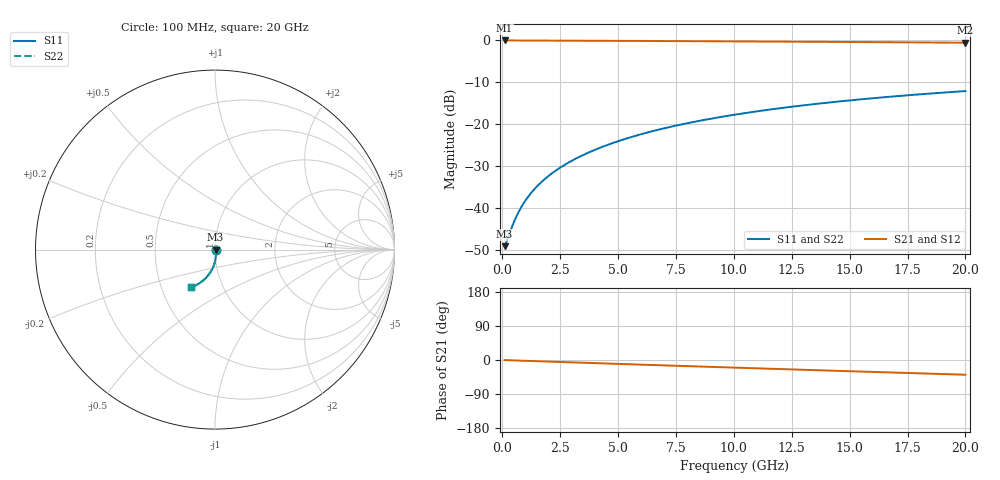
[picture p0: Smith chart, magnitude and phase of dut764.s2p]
! Touchstone file exported from HFSS 2026.1.0
!  File:  C:/ffzhzh/LocalFiles/Ansys_Project_Files/temp_train_TMRDL_764_1783155480_51560.aedt
!  Generated:  04:59:08 PM Jul  4, 2026
!  Design:  TMRDL
!  Project:  temp_train_TMRDL_764_1783155480_51560
! Variables:
!  h_bsmrdl = 2um
!  h_ox = 20um
!  h_rdl = 5um
!  h_sub = 80um
!  h_tmrdl = 5.48um
!  h_tsv = 80um
!  h_via = 3um
!  l_bsmrdl = 300um
!  l_sub = 1049.01um
!  l_tmrdl = 649.01um
!  m_sub = 200um
!  pitch = 14.46um
!  r_tsv = 6um
!  s_tmrdl = 10um
!  w_bsmrdl = 18um
!  w_sub = 500um
!  w_tmrdl = 12.65um
!  x_tsv_center1 = 655.335um
!  x_tsv_center2 = 973.335um
!  x_tsv_center3 = 1634.995um
!  x_tsv_center4 = 1952.995um
!  x_tsv_center5 = 2614.655um
!  x_tsv_center6 = 2932.655um
# GHz S MA R 50.000000
! Terminal data exported
! Port[1] = TM_RDL1_1_T1
! Port[2] = TM_RDL1_1_T2
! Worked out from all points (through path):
!   200 points, 100 MHz to 20 GHz, reference 50 ohm
!   highest |S21| = -0.03 dB at 100 MHz (marker M1); lowest = -0.6 dB at 20 GHz (marker M2)
!   group delay of S21, straight-line fit = 5.38 ps
!   lowest |S11| = -49.0 dB at 100 MHz (marker M3), VSWR 1.01, Z = 50.4 - j0.0531 ohm
!   |S11| at or under -10 dB: start of sweep to end of sweep
!   |S22| runs from -49.0 to -12.1 dB; largest |S21 - S12| = 5.4e-15
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0.1  0.003544 -8.6  0.9965 -0.2  0.9965 -0.2  0.003544 -8.6
! Gamma 0 0 0 0
! Port Impedance 50 0 50 0
0.2  0.004111 -18.0  0.9961 -0.5  0.9961 -0.5  0.004111 -18.0
0.4  0.005837 -35.7  0.9952 -0.9  0.9952 -0.9  0.005837 -35.7
0.5  0.006847 -42.7  0.9949 -1.1  0.9949 -1.1  0.006846 -42.7
0.7  0.009001 -53.2  0.9944 -1.5  0.9944 -1.5  0.009 -53.2
0.8  0.01012 -57.1  0.9942 -1.7  0.9942 -1.7  0.01012 -57.1
1  0.0124 -63.0  0.9939 -2.2  0.9939 -2.2  0.0124 -63.0
1.3  0.01591 -68.9  0.9935 -2.8  0.9935 -2.8  0.01591 -69.0
1.7  0.02069 -74.0  0.9929 -3.6  0.9929 -3.6  0.02069 -74.0
2.2  0.02679 -78.1  0.992 -4.6  0.992 -4.6  0.02679 -78.1
2.8  0.03428 -81.5  0.9909 -5.9  0.9909 -5.9  0.03428 -81.5
3.5  0.04322 -84.3  0.9894 -7.3  0.9894 -7.3  0.04322 -84.4
4.2  0.05235 -86.7  0.9877 -8.7  0.9877 -8.7  0.05234 -86.7
5  0.06294 -89.1  0.9857 -10.3  0.9857 -10.3  0.06293 -89.1
5.9  0.075 -91.6  0.9834 -12.1  0.9834 -12.1  0.07498 -91.6
6.8  0.08711 -93.9  0.981 -13.9  0.981 -13.9  0.08709 -93.9
8.3  0.1073 -97.6  0.9768 -16.8  0.9768 -16.8  0.1072 -97.7
10.1  0.1311 -101.8  0.9715 -20.3  0.9715 -20.3  0.1311 -101.9
11.7  0.1518 -105.4  0.9666 -23.4  0.9666 -23.4  0.1518 -105.5
13.4  0.1732 -109.1  0.961 -26.6  0.961 -26.6  0.1732 -109.2
16.7  0.2126 -115.9  0.9494 -32.8  0.9494 -32.8  0.2126 -116.0
20  0.2488 -122.4  0.937 -38.9  0.937 -38.9  0.2487 -122.5
